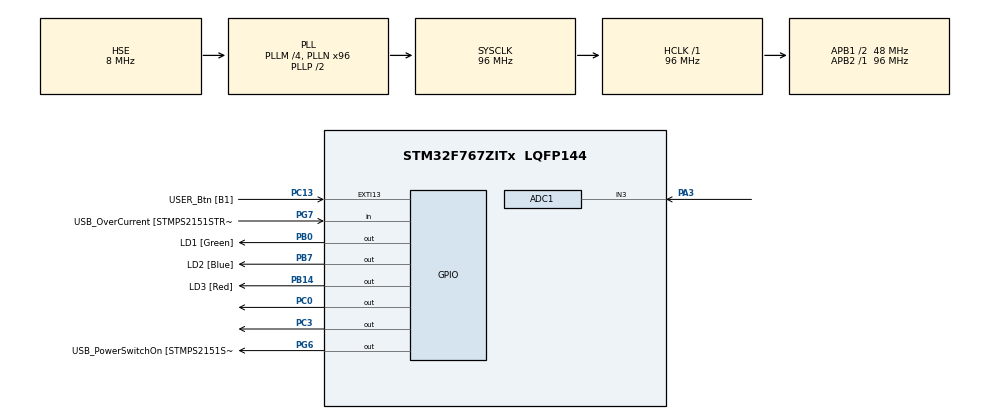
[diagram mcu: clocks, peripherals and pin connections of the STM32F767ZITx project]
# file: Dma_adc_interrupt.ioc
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ADC1.Channel-0\#ChannelRegularConversion=ADC_CHANNEL_3
ADC1.Channel-1\#ChannelRegularConversion=ADC_CHANNEL_VREFINT
ADC1.ContinuousConvMode=ENABLE
ADC1.DMAContinuousRequests=ENABLE
ADC1.EOCSelection=ADC_EOC_SEQ_CONV
ADC1.NbrOfConversion=2
ADC1.NbrOfConversionFlag=1
ADC1.Rank-0\#ChannelRegularConversion=1
ADC1.Rank-1\#ChannelRegularConversion=2
ADC1.SamplingTime-0\#ChannelRegularConversion=ADC_SAMPLETIME_480CYCLES
ADC1.SamplingTime-1\#ChannelRegularConversion=ADC_SAMPLETIME_480CYCLES
ADC1.ScanConvMode=ADC_SCAN_ENABLE
ADC1.master=1
CORTEX_M7.default_mode_Activation=1
Dma.ADC1.0.Direction=DMA_PERIPH_TO_MEMORY
Dma.ADC1.0.FIFOMode=DMA_FIFOMODE_DISABLE
Dma.ADC1.0.Instance=DMA2_Stream0
Dma.ADC1.0.MemDataAlignment=DMA_MDATAALIGN_HALFWORD
Dma.ADC1.0.MemInc=DMA_MINC_ENABLE
Dma.ADC1.0.Mode=DMA_CIRCULAR
Dma.ADC1.0.PeriphDataAlignment=DMA_PDATAALIGN_HALFWORD
Dma.ADC1.0.PeriphInc=DMA_PINC_DISABLE
Dma.ADC1.0.Priority=DMA_PRIORITY_LOW
Dma.Request0=ADC1
Mcu.Family=STM32F7
Mcu.Name=STM32F767ZITx
Mcu.Package=LQFP144
NVIC.DMA2_Stream0_IRQn=true\:0\:0\:false\:false\:true\:false\:true\:true
NVIC.PriorityGroup=NVIC_PRIORITYGROUP_4
PA1.GPIO_Label=RMII_REF_CLK [LAN8742A-CZ-TR_REFCLK0]
PA1.Signal=ETH_REF_CLK
PA10.GPIO_Label=USB_ID
PA10.Signal=USB_OTG_FS_ID
PA11.GPIO_Label=USB_DM
PA11.Signal=USB_OTG_FS_DM
PA12.GPIO_Label=USB_DP
PA12.Signal=USB_OTG_FS_DP
PA13.GPIO_Label=TMS
PA13.Mode=Serial_Wire
PA13.Signal=SYS_JTMS-SWDIO
PA14.GPIO_Label=TCK
PA14.Mode=Serial_Wire
PA14.Signal=SYS_JTCK-SWCLK
PA2.GPIO_Label=RMII_MDIO [LAN8742A-CZ-TR_MDIO]
PA2.Signal=ETH_MDIO
PA3.Signal=ADCx_IN3
PA7.GPIO_Label=RMII_CRS_DV [LAN8742A-CZ-TR_CRS_DV]
PA7.Signal=ETH_CRS_DV
PA8.GPIO_Label=USB_SOF [TP1]
PA8.Signal=USB_OTG_FS_SOF
PA9.GPIO_Label=USB_VBUS
PA9.Signal=USB_OTG_FS_VBUS
PB0.GPIO_Label=LD1 [Green]
PB0.Signal=GPIO_Output
PB13.GPIO_Label=RMII_TXD1 [LAN8742A-CZ-TR_TXD1]
PB13.Signal=ETH_TXD1
PB14.GPIO_Label=LD3 [Red]
PB14.Signal=GPIO_Output
PB3.GPIO_Label=SWO
PB3.Signal=SYS_JTDO-SWO
PB7.GPIO_Label=LD2 [Blue]
PB7.Signal=GPIO_Output
PC0.Signal=GPIO_Output
PC1.GPIO_Label=RMII_MDC [LAN8742A-CZ-TR_MDC]
PC1.Signal=ETH_MDC
PC13.GPIO_Label=USER_Btn [B1]
PC13.Signal=GPXTI13
PC14/OSC32_IN.Mode=LSE-External-Oscillator
PC14/OSC32_IN.Signal=RCC_OSC32_IN
PC15/OSC32_OUT.Mode=LSE-External-Oscillator
PC15/OSC32_OUT.Signal=RCC_OSC32_OUT
PC3.Signal=GPIO_Output
PC4.GPIO_Label=RMII_RXD0 [LAN8742A-CZ-TR_RXD0]
PC4.Signal=ETH_RXD0
PC5.GPIO_Label=RMII_RXD1 [LAN8742A-CZ-TR_RXD1]
PC5.Signal=ETH_RXD1
PD8.GPIO_Label=STLK_RX [STM32F103CBT6_PA3]
PD8.Signal=USART3_TX
PD9.GPIO_Label=STLK_TX [STM32F103CBT6_PA2]
PD9.Signal=USART3_RX
PG11.GPIO_Label=RMII_TX_EN [LAN8742A-CZ-TR_TXEN]
PG11.Signal=ETH_TX_EN
PG13.GPIO_Label=RMII_TXD0 [LAN8742A-CZ-TR_TXD0]
PG13.Signal=ETH_TXD0
PG6.GPIO_Label=USB_PowerSwitchOn [STMPS2151STR_EN]
PG6.Signal=GPIO_Output
PG7.GPIO_Label=USB_OverCurrent [STMPS2151STR_FAULT]
PG7.Signal=GPIO_Input
PH0/OSC_IN.GPIO_Label=MCO [STM32F103CBT6_PA8]
PH0/OSC_IN.Mode=HSE-External-Clock-Source
PH0/OSC_IN.Signal=RCC_OSC_IN
PH1/OSC_OUT.Mode=HSE-External-Clock-Source
PH1/OSC_OUT.Signal=RCC_OSC_OUT
ProjectManager.HeapSize=0x200
ProjectManager.StackSize=0x400
ProjectManager.TargetToolchain=STM32CubeIDE
RCC.48MHZClocksFreq_Value=24000000
RCC.AHBFreq_Value=96000000
RCC.APB1CLKDivider=RCC_HCLK_DIV2
RCC.APB1Freq_Value=48000000
RCC.APB1TimFreq_Value=96000000
RCC.APB2Freq_Value=96000000
RCC.APB2TimFreq_Value=96000000
RCC.CortexFreq_Value=96000000
RCC.HCLKFreq_Value=96000000
RCC.HSE_VALUE=8000000
RCC.HSI_VALUE=16000000
RCC.PLLM=4
RCC.PLLMUL=RCC_PLL_MUL9
RCC.PLLN=96
RCC.PLLQ=4
RCC.PLLSourceVirtual=RCC_PLLSOURCE_HSE
RCC.PRESCALERUSB=RCC_USBCLKSOURCE_PLL_DIV1_5
RCC.SYSCLKFreq_VALUE=96000000
RCC.SYSCLKSource=RCC_SYSCLKSOURCE_PLLCLK
RCC.SYSCLKSourceVirtual=RCC_SYSCLKSOURCE_PLLCLK
RCC.USBFreq_Value=48000000
RCC.VCOOutputFreq_Value=192000000
SH.ADCx_IN3.0=ADC1_IN3,IN3
VP_ADC1_Vref_Input.Mode=IN-Vrefint
board=NUCLEO-F767ZI

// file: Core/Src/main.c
/* USER CODE BEGIN Header */
/**
  ******************************************************************************
  * @file           : main.c
  * @brief          : Main program body
  ******************************************************************************
  * @attention
  *
  * Copyright (c) 2026 STMicroelectronics.
  * All rights reserved.
  *
  * This software is licensed under terms that can be found in the LICENSE file
  * in the root directory of this software component.
  * If no LICENSE file comes with this software, it is provided AS-IS.
  *
  ******************************************************************************
  */
/* USER CODE END Header */
#include "main.h"

ADC_HandleTypeDef hadc1;
DMA_HandleTypeDef hdma_adc1;

/* USER CODE BEGIN PV */
uint16_t adcData[2];
uint8_t flag;
uint16_t Channel0Data;
uint16_t ChannelVrefData;
/* USER CODE END PV */

void SystemClock_Config(void);
static void MPU_Config(void);
static void MX_GPIO_Init(void);
static void MX_DMA_Init(void);
static void MX_ADC1_Init(void);

/* USER CODE BEGIN 0 */
void HAL_ADC_ConvCpltCallback(ADC_HandleTypeDef *hadc)
{
	flag=1;
	HAL_GPIO_WritePin(GPIOC, GPIO_PIN_0, GPIO_PIN_RESET);
	HAL_GPIO_WritePin(GPIOC, GPIO_PIN_3, GPIO_PIN_SET);

}

void HAL_ADC_ConvHalfCpltCallback(ADC_HandleTypeDef *hadc)
{
	flag=2;
	HAL_GPIO_WritePin(GPIOC, GPIO_PIN_0, GPIO_PIN_SET);
	HAL_GPIO_WritePin(GPIOC, GPIO_PIN_3, GPIO_PIN_RESET);
}
/* USER CODE END 0 */

int main(void)
{

  /* MPU Configuration--------------------------------------------------------*/
  MPU_Config();

  /* MCU Configuration--------------------------------------------------------*/

  /* Reset of all peripherals, Initializes the Flash interface and the Systick. */
  HAL_Init();

  /* Configure the system clock */
  SystemClock_Config();

  /* Initialize all configured peripherals */
  MX_GPIO_Init();
  MX_DMA_Init();
  MX_ADC1_Init();
  /* USER CODE BEGIN 2 */
HAL_ADC_Start_DMA(&hadc1, (uint32_t*)adcData, 2);
  /* USER CODE END 2 */

  /* Infinite loop */
  /* USER CODE BEGIN WHILE */
  while (1)
  {

	  if(flag==1){
		  Channel0Data=(uint16_t)adcData[0];
		  ChannelVrefData=(uint16_t)adcData[1];
	  }
    /* USER CODE END WHILE */

  }
}

void SystemClock_Config(void)
{
  RCC_OscInitTypeDef RCC_OscInitStruct = {0};
  RCC_ClkInitTypeDef RCC_ClkInitStruct = {0};

  /** Configure LSE Drive Capability
  */
  HAL_PWR_EnableBkUpAccess();

  /** Configure the main internal regulator output voltage
  */
  __HAL_RCC_PWR_CLK_ENABLE();
  __HAL_PWR_VOLTAGESCALING_CONFIG(PWR_REGULATOR_VOLTAGE_SCALE3);

  /** Initializes the RCC Oscillators according to the specified parameters
  * in the RCC_OscInitTypeDef structure.
  */
  RCC_OscInitStruct.OscillatorType = RCC_OSCILLATORTYPE_HSE;
  RCC_OscInitStruct.HSEState = RCC_HSE_BYPASS;
  RCC_OscInitStruct.PLL.PLLState = RCC_PLL_ON;
  RCC_OscInitStruct.PLL.PLLSource = RCC_PLLSOURCE_HSE;
  RCC_OscInitStruct.PLL.PLLM = 4;
  RCC_OscInitStruct.PLL.PLLN = 96;
  RCC_OscInitStruct.PLL.PLLP = RCC_PLLP_DIV2;
  RCC_OscInitStruct.PLL.PLLQ = 4;
  RCC_OscInitStruct.PLL.PLLR = 2;
  if (HAL_RCC_OscConfig(&RCC_OscInitStruct) != HAL_OK)
  {
    Error_Handler();
  }

  /** Activate the Over-Drive mode
  */
  if (HAL_PWREx_EnableOverDrive() != HAL_OK)
  {
    Error_Handler();
  }

  /** Initializes the CPU, AHB and APB buses clocks
  */
  RCC_ClkInitStruct.ClockType = RCC_CLOCKTYPE_HCLK|RCC_CLOCKTYPE_SYSCLK
                              |RCC_CLOCKTYPE_PCLK1|RCC_CLOCKTYPE_PCLK2;
  RCC_ClkInitStruct.SYSCLKSource = RCC_SYSCLKSOURCE_PLLCLK;
  RCC_ClkInitStruct.AHBCLKDivider = RCC_SYSCLK_DIV1;
  RCC_ClkInitStruct.APB1CLKDivider = RCC_HCLK_DIV2;
  RCC_ClkInitStruct.APB2CLKDivider = RCC_HCLK_DIV1;

  if (HAL_RCC_ClockConfig(&RCC_ClkInitStruct, FLASH_LATENCY_3) != HAL_OK)
  {
    Error_Handler();
  }
}

static void MX_ADC1_Init(void)
{

  ADC_ChannelConfTypeDef sConfig = {0};

  /** Configure the global features of the ADC (Clock, Resolution, Data Alignment and number of conversion)
  */
  hadc1.Instance = ADC1;
  hadc1.Init.ClockPrescaler = ADC_CLOCK_SYNC_PCLK_DIV4;
  hadc1.Init.Resolution = ADC_RESOLUTION_12B;
  hadc1.Init.ScanConvMode = ADC_SCAN_ENABLE;
  hadc1.Init.ContinuousConvMode = ENABLE;
  hadc1.Init.DiscontinuousConvMode = DISABLE;
  hadc1.Init.ExternalTrigConvEdge = ADC_EXTERNALTRIGCONVEDGE_NONE;
  hadc1.Init.ExternalTrigConv = ADC_SOFTWARE_START;
  hadc1.Init.DataAlign = ADC_DATAALIGN_RIGHT;
  hadc1.Init.NbrOfConversion = 2;
  hadc1.Init.DMAContinuousRequests = ENABLE;
  hadc1.Init.EOCSelection = ADC_EOC_SEQ_CONV;
  if (HAL_ADC_Init(&hadc1) != HAL_OK)
  {
    Error_Handler();
  }

  /** Configure for the selected ADC regular channel its corresponding rank in the sequencer and its sample time.
  */
  sConfig.Channel = ADC_CHANNEL_3;
  sConfig.Rank = ADC_REGULAR_RANK_1;
  sConfig.SamplingTime = ADC_SAMPLETIME_480CYCLES;
  if (HAL_ADC_ConfigChannel(&hadc1, &sConfig) != HAL_OK)
  {
    Error_Handler();
  }

  /** Configure for the selected ADC regular channel its corresponding rank in the sequencer and its sample time.
  */
  sConfig.Channel = ADC_CHANNEL_VREFINT;
  sConfig.Rank = ADC_REGULAR_RANK_2;
  if (HAL_ADC_ConfigChannel(&hadc1, &sConfig) != HAL_OK)
  {
    Error_Handler();
  }

}

static void MX_DMA_Init(void)
{

  /* DMA controller clock enable */
  __HAL_RCC_DMA2_CLK_ENABLE();

  /* DMA interrupt init */
  /* DMA2_Stream0_IRQn interrupt configuration */
  HAL_NVIC_SetPriority(DMA2_Stream0_IRQn, 0, 0);
  HAL_NVIC_EnableIRQ(DMA2_Stream0_IRQn);

}

static void MX_GPIO_Init(void)
{
  GPIO_InitTypeDef GPIO_InitStruct = {0};

  /* GPIO Ports Clock Enable */
  __HAL_RCC_GPIOC_CLK_ENABLE();
  __HAL_RCC_GPIOH_CLK_ENABLE();
  __HAL_RCC_GPIOA_CLK_ENABLE();
  __HAL_RCC_GPIOB_CLK_ENABLE();
  __HAL_RCC_GPIOD_CLK_ENABLE();
  __HAL_RCC_GPIOG_CLK_ENABLE();

  /*Configure GPIO pin Output Level */
  HAL_GPIO_WritePin(GPIOC, GPIO_PIN_0|GPIO_PIN_3, GPIO_PIN_RESET);

  /*Configure GPIO pin Output Level */
  HAL_GPIO_WritePin(GPIOB, LD1_Pin|LD3_Pin|LD2_Pin, GPIO_PIN_RESET);

  /*Configure GPIO pin Output Level */
  HAL_GPIO_WritePin(USB_PowerSwitchOn_GPIO_Port, USB_PowerSwitchOn_Pin, GPIO_PIN_RESET);

  /*Configure GPIO pin : USER_Btn_Pin */
  GPIO_InitStruct.Pin = USER_Btn_Pin;
  GPIO_InitStruct.Mode = GPIO_MODE_IT_RISING;
  GPIO_InitStruct.Pull = GPIO_NOPULL;
  HAL_GPIO_Init(USER_Btn_GPIO_Port, &GPIO_InitStruct);

  /*Configure GPIO pins : PC0 PC3 */
  GPIO_InitStruct.Pin = GPIO_PIN_0|GPIO_PIN_3;
  GPIO_InitStruct.Mode = GPIO_MODE_OUTPUT_PP;
  GPIO_InitStruct.Pull = GPIO_NOPULL;
  GPIO_InitStruct.Speed = GPIO_SPEED_FREQ_LOW;
  HAL_GPIO_Init(GPIOC, &GPIO_InitStruct);

  /*Configure GPIO pins : RMII_MDC_Pin RMII_RXD0_Pin RMII_RXD1_Pin */
  GPIO_InitStruct.Pin = RMII_MDC_Pin|RMII_RXD0_Pin|RMII_RXD1_Pin;
  GPIO_InitStruct.Mode = GPIO_MODE_AF_PP;
  GPIO_InitStruct.Pull = GPIO_NOPULL;
  GPIO_InitStruct.Speed = GPIO_SPEED_FREQ_HIGH;
  GPIO_InitStruct.Alternate = GPIO_AF11_ETH;
  HAL_GPIO_Init(GPIOC, &GPIO_InitStruct);

  /*Configure GPIO pins : RMII_REF_CLK_Pin RMII_MDIO_Pin RMII_CRS_DV_Pin */
  GPIO_InitStruct.Pin = RMII_REF_CLK_Pin|RMII_MDIO_Pin|RMII_CRS_DV_Pin;
  GPIO_InitStruct.Mode = GPIO_MODE_AF_PP;
  GPIO_InitStruct.Pull = GPIO_NOPULL;
  GPIO_InitStruct.Speed = GPIO_SPEED_FREQ_HIGH;
  GPIO_InitStruct.Alternate = GPIO_AF11_ETH;
  HAL_GPIO_Init(GPIOA, &GPIO_InitStruct);

  /*Configure GPIO pins : LD1_Pin LD3_Pin LD2_Pin */
  GPIO_InitStruct.Pin = LD1_Pin|LD3_Pin|LD2_Pin;
  GPIO_InitStruct.Mode = GPIO_MODE_OUTPUT_PP;
  GPIO_InitStruct.Pull = GPIO_NOPULL;
  GPIO_InitStruct.Speed = GPIO_SPEED_FREQ_LOW;
  HAL_GPIO_Init(GPIOB, &GPIO_InitStruct);

  /*Configure GPIO pin : RMII_TXD1_Pin */
  GPIO_InitStruct.Pin = RMII_TXD1_Pin;
  GPIO_InitStruct.Mode = GPIO_MODE_AF_PP;
  GPIO_InitStruct.Pull = GPIO_NOPULL;
  GPIO_InitStruct.Speed = GPIO_SPEED_FREQ_HIGH;
  GPIO_InitStruct.Alternate = GPIO_AF11_ETH;
  HAL_GPIO_Init(RMII_TXD1_GPIO_Port, &GPIO_InitStruct);

  /*Configure GPIO pins : STLK_RX_Pin STLK_TX_Pin */
  GPIO_InitStruct.Pin = STLK_RX_Pin|STLK_TX_Pin;
  GPIO_InitStruct.Mode = GPIO_MODE_AF_PP;
  GPIO_InitStruct.Pull = GPIO_NOPULL;
  GPIO_InitStruct.Speed = GPIO_SPEED_FREQ_VERY_HIGH;
  GPIO_InitStruct.Alternate = GPIO_AF7_USART3;
  HAL_GPIO_Init(GPIOD, &GPIO_InitStruct);

  /*Configure GPIO pin : USB_PowerSwitchOn_Pin */
  GPIO_InitStruct.Pin = USB_PowerSwitchOn_Pin;
  GPIO_InitStruct.Mode = GPIO_MODE_OUTPUT_PP;
  GPIO_InitStruct.Pull = GPIO_NOPULL;
  GPIO_InitStruct.Speed = GPIO_SPEED_FREQ_LOW;
  HAL_GPIO_Init(USB_PowerSwitchOn_GPIO_Port, &GPIO_InitStruct);

  /*Configure GPIO pin : USB_OverCurrent_Pin */
  GPIO_InitStruct.Pin = USB_OverCurrent_Pin;
  GPIO_InitStruct.Mode = GPIO_MODE_INPUT;
  GPIO_InitStruct.Pull = GPIO_NOPULL;
  HAL_GPIO_Init(USB_OverCurrent_GPIO_Port, &GPIO_InitStruct);

  /*Configure GPIO pins : USB_SOF_Pin USB_ID_Pin USB_DM_Pin USB_DP_Pin */
  GPIO_InitStruct.Pin = USB_SOF_Pin|USB_ID_Pin|USB_DM_Pin|USB_DP_Pin;
  GPIO_InitStruct.Mode = GPIO_MODE_AF_PP;
  GPIO_InitStruct.Pull = GPIO_NOPULL;
  GPIO_InitStruct.Speed = GPIO_SPEED_FREQ_VERY_HIGH;
  GPIO_InitStruct.Alternate = GPIO_AF10_OTG_FS;
  HAL_GPIO_Init(GPIOA, &GPIO_InitStruct);

  /*Configure GPIO pin : USB_VBUS_Pin */
  GPIO_InitStruct.Pin = USB_VBUS_Pin;
  GPIO_InitStruct.Mode = GPIO_MODE_INPUT;
  GPIO_InitStruct.Pull = GPIO_NOPULL;
  HAL_GPIO_Init(USB_VBUS_GPIO_Port, &GPIO_InitStruct);

  /*Configure GPIO pins : RMII_TX_EN_Pin RMII_TXD0_Pin */
  GPIO_InitStruct.Pin = RMII_TX_EN_Pin|RMII_TXD0_Pin;
  GPIO_InitStruct.Mode = GPIO_MODE_AF_PP;
  GPIO_InitStruct.Pull = GPIO_NOPULL;
  GPIO_InitStruct.Speed = GPIO_SPEED_FREQ_HIGH;
  GPIO_InitStruct.Alternate = GPIO_AF11_ETH;
  HAL_GPIO_Init(GPIOG, &GPIO_InitStruct);

}

 /* MPU Configuration */

void MPU_Config(void)
{
  MPU_Region_InitTypeDef MPU_InitStruct = {0};

  /* Disables the MPU */
  HAL_MPU_Disable();

  /** Initializes and configures the Region and the memory to be protected
  */
  MPU_InitStruct.Enable = MPU_REGION_ENABLE;
  MPU_InitStruct.Number = MPU_REGION_NUMBER0;
  MPU_InitStruct.BaseAddress = 0x0;
  MPU_InitStruct.Size = MPU_REGION_SIZE_4GB;
  MPU_InitStruct.SubRegionDisable = 0x87;
  MPU_InitStruct.TypeExtField = MPU_TEX_LEVEL0;
  MPU_InitStruct.AccessPermission = MPU_REGION_NO_ACCESS;
  MPU_InitStruct.DisableExec = MPU_INSTRUCTION_ACCESS_DISABLE;
  MPU_InitStruct.IsShareable = MPU_ACCESS_SHAREABLE;
  MPU_InitStruct.IsCacheable = MPU_ACCESS_NOT_CACHEABLE;
  MPU_InitStruct.IsBufferable = MPU_ACCESS_NOT_BUFFERABLE;

  HAL_MPU_ConfigRegion(&MPU_InitStruct);
  /* Enables the MPU */
  HAL_MPU_Enable(MPU_PRIVILEGED_DEFAULT);

}

void Error_Handler(void)
{
  __disable_irq();
  while (1)
  {
  }
}
